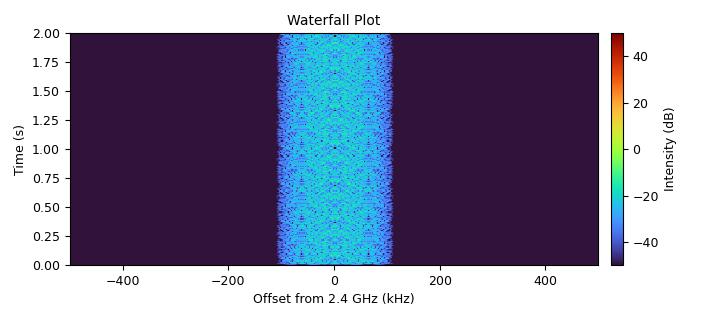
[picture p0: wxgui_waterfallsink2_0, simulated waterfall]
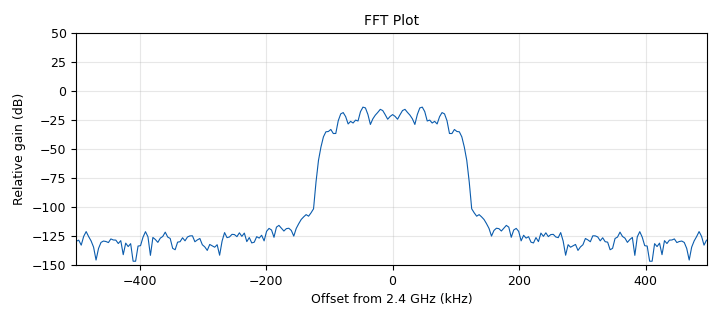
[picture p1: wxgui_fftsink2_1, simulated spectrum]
<?xml version='1.0' encoding='utf-8'?>
<flow_graph>
<block>
<key>options</key>
<param><key>id</key><value>top_block</value></param>
<param><key>title</key><value>Interferer</value></param>
<param><key>generate_options</key><value>wx_gui</value></param>
<param><key>category</key><value>Custom</value></param>
</block>
<block>
<key>variable_chooser</key>
<param><key>id</key><value>channel_freq</value></param>
<param><key>label</key><value>ChannelChooser</value></param>
<param><key>value</key><value>2400e6</value></param>
<param><key>choices</key><value>[2400e6, 2404.00e6, 2406.00e6]</value></param>
<param><key>labels</key><value>['Ch1','Ch2','Ch3']</value></param>
<param><key>type</key><value>drop_down</value></param>
<param><key>style</key><value>wx.RA_HORIZONTAL</value></param>
</block>
<block>
<key>variable_check_box</key>
<param><key>id</key><value>output</value></param>
<param><key>label</key><value>Output</value></param>
<param><key>value</key><value>True</value></param>
<param><key>true</key><value>True</value></param>
<param><key>false</key><value>False</value></param>
<param><key>grid_pos</key><value>(0, 0, 1, 2)</value></param>
</block>
<block>
<key>variable_slider</key>
<param><key>id</key><value>samp_rate</value></param>
<param><key>label</key><value>Sample rate</value></param>
<param><key>value</key><value>1e6</value></param>
<param><key>min</key><value>0</value></param>
<param><key>max</key><value>25e6</value></param>
<param><key>num_steps</key><value>100</value></param>
<param><key>style</key><value>wx.SL_HORIZONTAL</value></param>
<param><key>converver</key><value>float_converter</value></param>
</block>
<block>
<key>variable_slider</key>
<param><key>id</key><value>tx_gain</value></param>
<param><key>label</key><value>TX gain</value></param>
<param><key>value</key><value>20</value></param>
<param><key>min</key><value>0</value></param>
<param><key>max</key><value>50</value></param>
<param><key>num_steps</key><value>100</value></param>
<param><key>style</key><value>wx.SL_HORIZONTAL</value></param>
<param><key>converver</key><value>float_converter</value></param>
</block>
<block>
<key>random_source_x</key>
<param><key>id</key><value>random_source_x_0</value></param>
<param><key>type</key><value>byte</value></param>
<param><key>min</key><value>0</value></param>
<param><key>max</key><value>256</value></param>
<param><key>num_samps</key><value>1000</value></param>
<param><key>repeat</key><value>True</value></param>
</block>
<block>
<key>blks2_valve</key>
<param><key>id</key><value>blks2_valve_0_0</value></param>
<param><key>type</key><value>byte</value></param>
<param><key>open</key><value>not output</value></param>
<param><key>vlen</key><value>1</value></param>
</block>
<block>
<key>digital_dxpsk_mod</key>
<param><key>id</key><value>digital_dxpsk_mod_0</value></param>
<param><key>type</key><value>dbpsk</value></param>
<param><key>samples_per_symbol</key><value>8</value></param>
<param><key>excess_bw</key><value>0.8</value></param>
<param><key>gray_coded</key><value>True</value></param>
<param><key>verbose</key><value>False</value></param>
<param><key>log</key><value>False</value></param>
</block>
<block>
<key>gr_multiply_const_vxx</key>
<param><key>id</key><value>gr_multiply_const_vxx_0</value></param>
<param><key>type</key><value>complex</value></param>
<param><key>const</key><value>0.7</value></param>
<param><key>vlen</key><value>1</value></param>
</block>
<block>
<key>blks2_valve</key>
<param><key>id</key><value>blks2_valve_0_0_0</value></param>
<param><key>type</key><value>complex</value></param>
<param><key>open</key><value>not output</value></param>
<param><key>vlen</key><value>1</value></param>
</block>
<block>
<key>uhd_usrp_sink</key>
<param><key>id</key><value>uhd_usrp_sink_0</value></param>
<param><key>type</key><value>fc32</value></param>
<param><key>dev_addr</key><value></value></param>
<param><key>sync</key><value></value></param>
<param><key>clock_rate</key><value>0.0</value></param>
<param><key>samp_rate</key><value>samp_rate</value></param>
<param><key>center_freq0</key><value>channel_freq</value></param>
<param><key>gain0</key><value>tx_gain</value></param>
<param><key>ant0</key><value></value></param>
</block>
<block>
<key>variable_config</key>
<param><key>id</key><value>variable_config_0</value></param>
<param><key>_enabled</key><value>False</value></param>
<param><key>value</key><value>0</value></param>
<param><key>type</key><value>real</value></param>
<param><key>config_file</key><value>default</value></param>
<param><key>section</key><value>main</value></param>
<param><key>option</key><value>key</value></param>
<param><key>writeback</key><value>None</value></param>
</block>
<block>
<key>wxgui_waterfallsink2</key>
<param><key>id</key><value>wxgui_waterfallsink2_0</value></param>
<param><key>type</key><value>complex</value></param>
<param><key>title</key><value>Waterfall Plot</value></param>
<param><key>samp_rate</key><value>samp_rate</value></param>
<param><key>baseband_freq</key><value>channel_freq</value></param>
<param><key>dynamic_range</key><value>100</value></param>
<param><key>ref_level</key><value>50</value></param>
<param><key>ref_scale</key><value>2.0</value></param>
<param><key>fft_size</key><value>512</value></param>
<param><key>fft_rate</key><value>15</value></param>
<param><key>average</key><value>False</value></param>
<param><key>avg_alpha</key><value>0</value></param>
<param><key>win</key><value>None</value></param>
<param><key>grid_pos</key><value>(1, 2, 1, 1)</value></param>
</block>
<block>
<key>wxgui_fftsink2</key>
<param><key>id</key><value>wxgui_fftsink2_1</value></param>
<param><key>type</key><value>complex</value></param>
<param><key>title</key><value>FFT Plot</value></param>
<param><key>samp_rate</key><value>samp_rate</value></param>
<param><key>baseband_freq</key><value>channel_freq</value></param>
<param><key>y_per_div</key><value>20</value></param>
<param><key>y_divs</key><value>10</value></param>
<param><key>ref_level</key><value>50</value></param>
<param><key>ref_scale</key><value>2.0</value></param>
<param><key>fft_size</key><value>256</value></param>
<param><key>fft_rate</key><value>15</value></param>
<param><key>peak_hold</key><value>False</value></param>
<param><key>average</key><value>False</value></param>
<param><key>avg_alpha</key><value>0</value></param>
<param><key>win</key><value>None</value></param>
<param><key>grid_pos</key><value>(1, 1, 1, 1)</value></param>
</block>
<connection><source_block_id>random_source_x_0</source_block_id><sink_block_id>blks2_valve_0_0</sink_block_id><source_key>0</source_key><sink_key>0</sink_key></connection>
<connection><source_block_id>blks2_valve_0_0</source_block_id><sink_block_id>digital_dxpsk_mod_0</sink_block_id><source_key>0</source_key><sink_key>0</sink_key></connection>
<connection><source_block_id>blks2_valve_0_0_0</source_block_id><sink_block_id>uhd_usrp_sink_0</sink_block_id><source_key>0</source_key><sink_key>0</sink_key></connection>
<connection><source_block_id>digital_dxpsk_mod_0</source_block_id><sink_block_id>gr_multiply_const_vxx_0</sink_block_id><source_key>0</source_key><sink_key>0</sink_key></connection>
<connection><source_block_id>gr_multiply_const_vxx_0</source_block_id><sink_block_id>blks2_valve_0_0_0</sink_block_id><source_key>0</source_key><sink_key>0</sink_key></connection>
<connection><source_block_id>gr_multiply_const_vxx_0</source_block_id><sink_block_id>wxgui_fftsink2_1</sink_block_id><source_key>0</source_key><sink_key>0</sink_key></connection>
<connection><source_block_id>gr_multiply_const_vxx_0</source_block_id><sink_block_id>wxgui_waterfallsink2_0</sink_block_id><source_key>0</source_key><sink_key>0</sink_key></connection>
</flow_graph>
